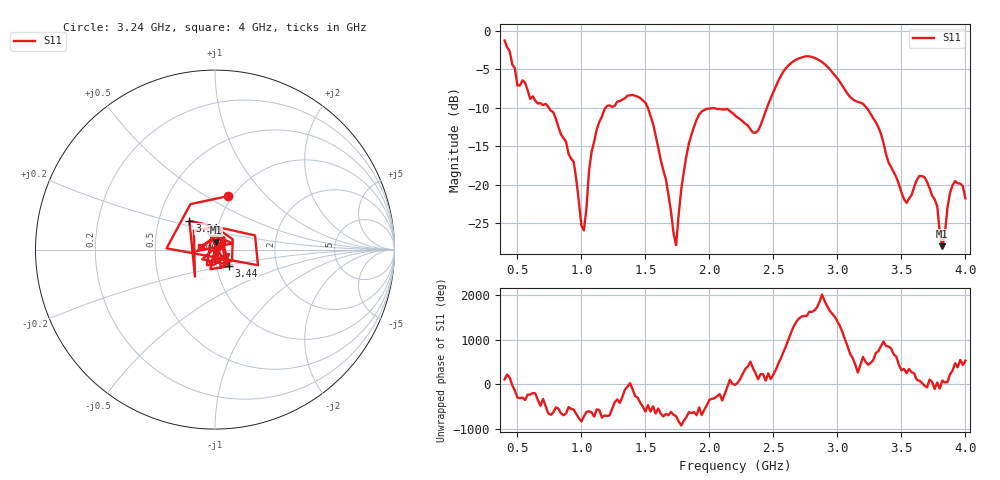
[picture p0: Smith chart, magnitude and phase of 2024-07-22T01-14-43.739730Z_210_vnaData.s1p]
!Created with skrf (http://scikit-rf.org).
# Hz S RI R 50.0
!freq ReS11 ImS11
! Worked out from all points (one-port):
!   181 points, 400 MHz to 4 GHz, reference 50 ohm
!   lowest |S11| = -27.9 dB at 3.82 GHz (marker M1), VSWR 1.08, Z = 50.4 + j4.01 ohm
!   |S11| at or under -10 dB: 746.3 MHz to 1.19 GHz (443.6 MHz wide, 45.8 % of centre); 1.519 GHz to 2.45 GHz (930.8 MHz wide, 46.9 % of centre); 3.227 GHz to end of sweep
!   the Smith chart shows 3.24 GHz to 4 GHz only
!   S11 on the Smith chart (normalised r, x): 3.24 GHz: 0.96, +0.63; 3.34 GHz: 0.72, +0.24; 3.44 GHz: 1.15, -0.21; 4 GHz: 0.85, +0.03
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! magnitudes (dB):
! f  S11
! 400 MHz  -1.3
! 500 MHz  -7.1
! 860 MHz  -13.9
! 940 MHz  -17.0
! 1.02 GHz  -25.9
! 1.06 GHz  -18.1
! 1.12 GHz  -12.8
! 1.3 GHz  -9.1
! 1.5 GHz  -9.4
! 1.66 GHz  -19.3
! 1.74 GHz  -27.8
! 1.76 GHz  -23.8
! 1.84 GHz  -14.6
! 1.92 GHz  -10.9
! 2.2 GHz  -11.0
! 2.38 GHz  -13.0
! 2.66 GHz  -3.9
! 2.88 GHz  -4.1
! 3.1 GHz  -8.6
! 3.24 GHz  -10.2
! 3.34 GHz  -13.4
! 3.44 GHz  -18.3
! 3.56 GHz  -21.8
! 3.68 GHz  -19.0
! 3.78 GHz  -22.8
! 3.82 GHz  -27.9
! 3.9 GHz  -20.1
! 4 GHz  -21.7
